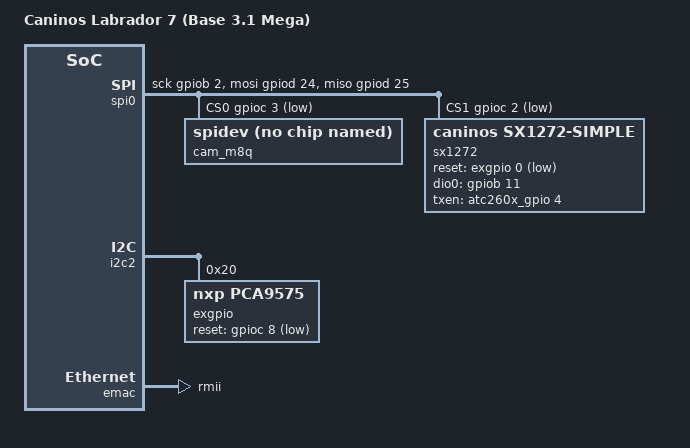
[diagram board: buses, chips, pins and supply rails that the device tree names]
// SPDX-License-Identifier: (GPL-2.0+ OR MIT)
#include "k7-base3x.dtsi"

/ {
	model = "Caninos Labrador 7 (Base 3.1 Mega)";
};

&soc {
	spi0: spi-gpio {
		compatible = "spi-gpio";
		max-speed = <100000>;
		#address-cells = <1>;
		#size-cells = <0>;
		miso-gpios = <&gpiod 25 GPIO_ACTIVE_HIGH>;
		mosi-gpios = <&gpiod 24 GPIO_ACTIVE_HIGH>;
		sck-gpios  = <&gpiob 2  GPIO_ACTIVE_HIGH>;
		cs-gpios   = <&gpioc 3  GPIO_ACTIVE_LOW>,
		             <&gpioc 2  GPIO_ACTIVE_LOW>;
		cs-num = <2>;
		status="okay";
		
		cam_m8q: spi@0 {
			compatible = "linux,spidev";
			reg = <0>;
		};
		
		sx1272: spi@1 {
			compatible = "caninos,sx1272-simple";
			reg = <1>;
			reset-gpios = <&exgpio 0 GPIO_ACTIVE_LOW>;
			dio0-gpios = <&gpiob 11 GPIO_ACTIVE_HIGH>;
			txen-gpios = <&atc260x_gpio 4 GPIO_ACTIVE_HIGH>;
			xtal = <32000000>;
			pa-boost;
			status = "okay";
		};
	};
};

&i2c2 {
	exgpio: exgpio@20 {
		compatible = "nxp,pca9575";
		reg = <0x20>;
		gpio-controller;
		#gpio-cells = <2>;
		reset-gpios = <&gpioc 8 GPIO_ACTIVE_LOW>;
		status = "okay";
	};
};

&mmc1 {
	enable-gpios = <&exgpio 2 GPIO_ACTIVE_HIGH>, <&exgpio 4 GPIO_ACTIVE_HIGH>;
};

&emac {
	phy-mode = "rmii";
};

&phy0 {
	max-speed = <100>;
};
